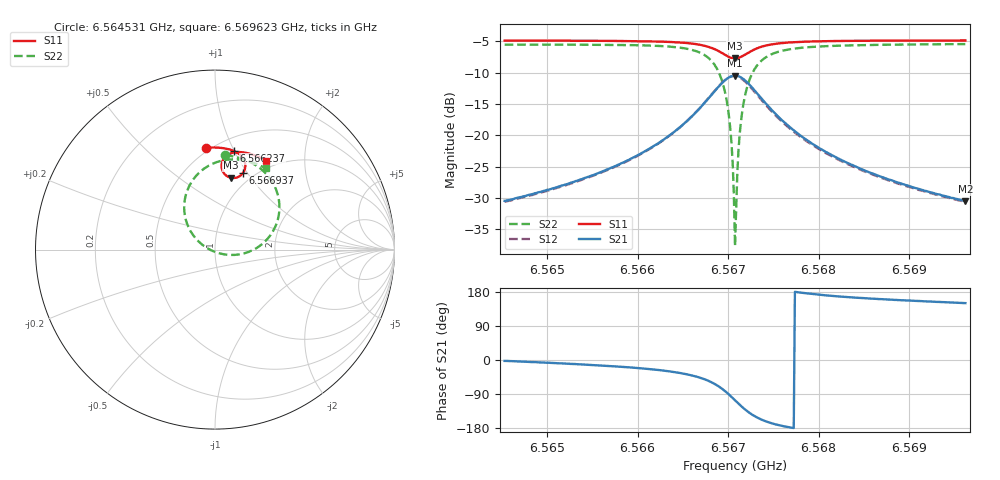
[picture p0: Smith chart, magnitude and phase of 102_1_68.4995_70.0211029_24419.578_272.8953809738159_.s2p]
#  HZ  S  RI  R  50.00
! Rohde & Schwarz Vector Network Analyzer
! Rohde-Schwarz,ZNB20-2Port,1311601062101988,3.16
! Created: UTC 3/20/2024, 4:53:06 PM
! freq[Hz]  re:S11  im:S11  re:S21  im:S21  re:S12  im:S12  re:S22  im:S22
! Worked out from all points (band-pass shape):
!   401 points, 6.564531 GHz to 6.569623 GHz, reference 50 ohm
!   highest |S21| = -10.48 dB at 6.567077 GHz (marker M1); lowest = -30.5 dB at 6.569623 GHz (marker M2)
!   |S21| within 3 dB of the highest: 6.566821 GHz to 6.567331 GHz (510.5 kHz wide, 0.00777 % of centre)
!   lowest |S11| = -7.7 dB at 6.567077 GHz (marker M3), VSWR 2.39, Z = 41.9 + j40.4 ohm
!   |S11| at or under -10 dB: nowhere
!   |S22| runs from -37.7 to -5.4 dB; largest |S21 - S12| = 0.015
!   S11 on the Smith chart (normalised r, x): 6.564531 GHz: 0.48, +0.80; 6.566237 GHz: 0.62, +1.00; 6.566937 GHz: 0.89, +0.95; 6.569623 GHz: 0.89, +1.31
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6.5645306e9  -0.0486 0.5673  0.03 -0.00126  0.0295 -0.00171  0.0538 0.5259
6.5653836e9  0.0223 0.5676  0.0438 -0.00898  0.0431 -0.00966  0.1378 0.5101
6.5662366e9  0.1049 0.5496  0.0779 -0.0391  0.0768 -0.04  0.2587 0.4469
6.5667204e9  0.1632 0.496  0.1144 -0.1321  0.1118 -0.1348  0.3574 0.2658
6.5668477e9  0.1684 0.4584  0.1028 -0.1982  0.0976 -0.2021  0.341 0.1395
6.5669368e9  0.1546 0.4248  0.0616 -0.2555  0.0524 -0.2588  0.2648 0.0327
6.566975e9  0.1412 0.4118  0.0304 -0.2766  0.0191 -0.2784  0.2064 -0.00465
6.5670132e9  0.1233 0.4025  -0.009 -0.2905  -0.0219 -0.2897  0.1336 -0.0268
6.5670386e9  0.1093 0.3995  -0.0384 -0.2936  -0.0518 -0.2907  0.0804 -0.0297
6.5670514e9  0.1021 0.3991  -0.0535 -0.293  -0.067 -0.2888  0.0531 -0.0269
6.5670641e9  0.0948 0.3996  -0.0688 -0.2909  -0.0821 -0.2856  0.0264 -0.0213
6.5670768e9  0.0874 0.4009  -0.0837 -0.2874  -0.0968 -0.2807  0.000273 -0.0131
6.5670895e9  0.0806 0.4029  -0.0982 -0.2822  -0.1108 -0.2745  -0.0248 -0.00213
6.5671023e9  0.0737 0.4057  -0.1121 -0.2758  -0.124 -0.267  -0.0484 0.0112
6.5671277e9  0.0614 0.4133  -0.1373 -0.2593  -0.1475 -0.2488  -0.0902 0.0441
6.5671659e9  0.0475 0.4285  -0.1664 -0.228  -0.1736 -0.2159  -0.1364 0.103
6.5672169e9  0.0378 0.4517  -0.1884 -0.1823  -0.1918 -0.1696  -0.1672 0.1867
6.5672805e9  0.0375 0.4786  -0.1945 -0.1299  -0.194 -0.1189  -0.1682 0.2785
6.5675224e9  0.0773 0.5313  -0.1463 -0.0265  -0.143 -0.0221  -0.06 0.4518
6.5679298e9  0.1379 0.5435  -0.0852 0.00886  -0.0833 0.0102  0.0759 0.5015
6.5687828e9  0.2202 0.525  -0.0413 0.0155  -0.0405 0.0159  0.2074 0.4859
6.569623e9  0.2838 0.4957  -0.0258 0.0149  -0.0254 0.015  0.2846 0.4521
